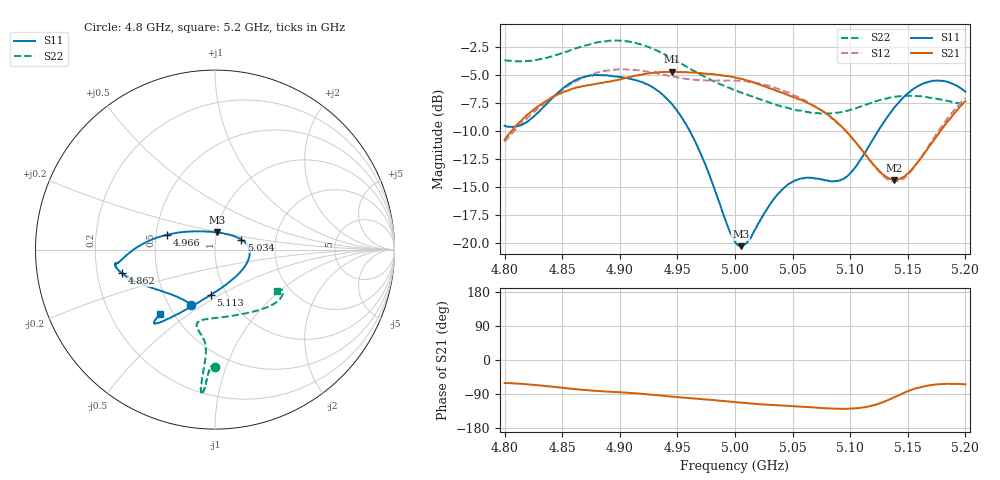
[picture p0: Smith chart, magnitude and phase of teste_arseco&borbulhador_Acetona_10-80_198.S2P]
! Network Analyzer HP8722D
! Hewlett-Packard
! Data name: Linha & Wilkinson
! Saver's name: Rodrigo Anjos
! Comments: Teste da utilização de aquisição
! continua pelo VNA HP8722D
! Time and date: 17/4/2025 16:00
!  Frequency  S11  S21  S12  S22
# HZ  S  MA R 50
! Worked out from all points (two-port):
!   401 points, 4.8 GHz to 5.2 GHz, reference 50 ohm
!   highest |S21| = -4.68 dB at 4.945 GHz (marker M1); lowest = -14.4 dB at 5.138 GHz (marker M2)
!   |S21| within 3 dB of the highest: 4.831 GHz to 5.067 GHz (236.3 MHz wide, 4.78 % of centre); 5.196626 GHz to end of sweep
!   lowest |S11| = -20.3 dB at 5.005 GHz (marker M3), VSWR 1.21, Z = 50 + j9.69 ohm
!   |S11| at or under -10 dB: 4.961 GHz to 5.124 GHz (163.4 MHz wide, 3.24 % of centre)
!   |S22| runs from -8.4 to -1.9 dB; largest |S21 - S12| = 0.87
!   S11 on the Smith chart (normalised r, x): 4.8 GHz: 0.65, -0.45; 4.862 GHz: 0.31, -0.11; 4.966 GHz: 0.57, +0.10; 5.034 GHz: 1.34, +0.15; 5.113 GHz: 0.84, -0.45; 5.2 GHz: 0.42, -0.39
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4.8e9  0.3336 -113.4  0.2885 -60.7  0.2826 -174.9  0.6556 -90.0
4.819e9  0.3467 -133.2  0.3703 -64.0  0.3582 -173.5  0.6512 -91.6
4.862e9  0.5352 -165.7  0.4952 -76.9  0.5276 -176.8  0.7425 -93.8
4.867e9  0.5486 -167.7  0.5011 -78.5  0.5436 -177.7  0.7566 -94.0
4.9e9  0.5524 -172.2  0.5378 -85.1  0.5964 175.6  0.8024 -95.3
4.934e9  0.4751 -178.1  0.5785 -93.5  0.5704 171.8  0.7172 -95.8
4.945e9  0.419 176.9  0.5831 -96.7  0.5567 172.0  0.6703 -95.4
4.966e9  0.2792 162.8  0.5775 -101.9  0.5358 173.8  0.5815 -95.0
5e9  0.1012 101.5  0.5485 -111.1  0.5315 176.3  0.4809 -99.1
5.005e9  0.09641 84.2  0.541 -112.4  0.5297 176.3  0.4695 -100.3
5.012e9  0.1026 61.0  0.529 -114.3  0.5245 175.9  0.4567 -101.8
5.034e9  0.1572 20.7  0.4833 -119.0  0.4962 174.7  0.4173 -103.4
5.05e9  0.1871 4.4  0.4504 -121.8  0.4601 174.1  0.3965 -99.6
5.067e9  0.195 -13.7  0.4122 -124.9  0.4157 173.6  0.3819 -90.8
5.093e9  0.1918 -58.1  0.3292 -128.8  0.3278 174.3  0.3851 -70.5
5.113e9  0.2534 -95.3  0.2489 -124.4  0.2482 -179.9  0.4139 -55.0
5.134e9  0.3756 -116.3  0.1935 -104.2  0.1904 -157.2  0.4459 -42.9
5.138e9  0.4011 -118.7  0.1909 -98.7  0.188 -150.8  0.4485 -41.1
5.151e9  0.4706 -124.5  0.2061 -81.3  0.2038 -130.9  0.4546 -36.4
5.17e9  0.5282 -128.8  0.2757 -66.2  0.2815 -112.4  0.446 -31.9
5.184e9  0.5254 -130.1  0.3463 -63.0  0.3581 -107.1  0.4319 -31.0
5.2e9  0.474 -130.5  0.4299 -64.3  0.4424 -106.4  0.4152 -33.3
